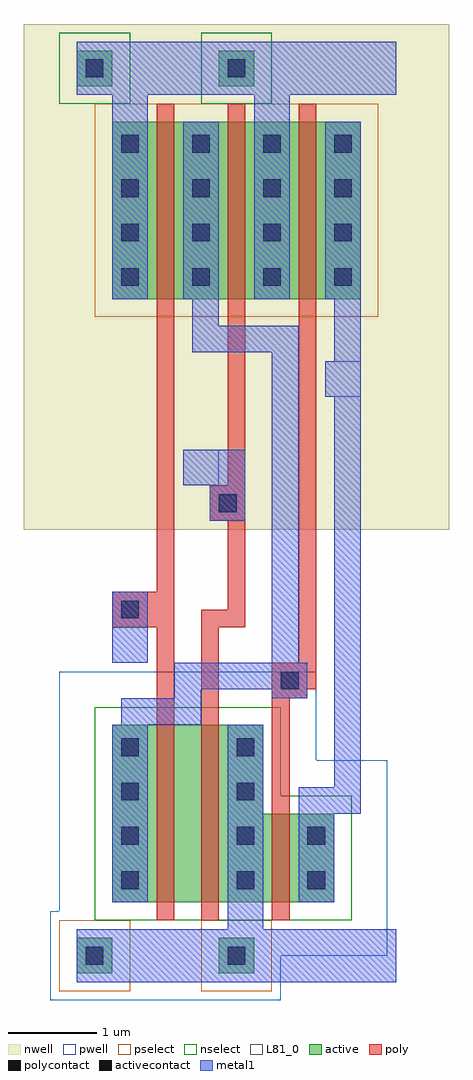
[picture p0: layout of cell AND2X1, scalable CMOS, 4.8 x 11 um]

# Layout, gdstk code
import gdstk
lib = gdstk.Library(unit=1e-6, precision=1e-09)
def R(c, l, rs):  # rectangles x0, y0, x1, y1
    for r in rs: c.add(gdstk.rectangle(r[:2], r[2:], *l))
def A(c, l, x, y, w, h, nx, ny, dx, dy):  # array of equal rectangles
    R(c, l, [(x+i*dx, y+j*dy, x+i*dx+w, y+j*dy+h) for i in range(nx) for j in range(ny)])
pwell = (41, 0)
nwell = (42, 0)
active = (43, 0)
pselect = (44, 0)
nselect = (45, 0)
poly = (46, 0)
polycontact = (47, 0)
activecontact = (48, 0)
metal1 = (49, 0)
L81_0 = (81, 0)

and2x1 = lib.new_cell('AND2X1')
R(and2x1, pwell, [(-0.5,-0.5,2.1,0), (-0.5,0,3.3,0.5), (-0.4,0.5,3.3,2.2), (-0.4,2.2,2.5,3.2)])
R(and2x1, nwell, [(-0.8,4.8,4,10.5)])
R(and2x1, active, [(-0.2,-0.2,0.2,0.2), (1.4,-0.2,1.8,0.2), (0.2,0.6,2.7,1.6), (0.2,1.6,1.9,2.6), (0.2,7.4,3,9.4), (-0.2,9.8,0.2,10.2), (1.4,9.8,1.8,10.2)])
R(and2x1, pselect, [(-0.4,-0.4,0.4,0.4), (1.2,-0.4,2,0.4), (0,7.2,3.2,9.6)])
R(and2x1, nselect, [(0,0.4,2.9,1.8), (0,1.8,2.1,2.8), (-0.4,9.6,0.4,10.4), (1.2,9.6,2,10.4)])
R(and2x1, poly, [(0.7,0.4,0.9,3.7), (1.2,0.4,1.4,3.7), (2,0.4,2.2,2.9), (2,2.9,2.4,3), (2,3,2.5,3.3), (2.3,3.3,2.5,9.6), (0.2,3.7,0.9,4.1), (1.2,3.7,1.7,3.9), (1.5,3.9,1.7,4.9), (0.7,4.1,0.9,9.6), (1.3,4.9,1.7,5.3), (1.5,5.3,1.7,9.6)])
R(and2x1, polycontact, [(2.1,3,2.3,3.2), (0.3,3.8,0.5,4), (1.4,5,1.6,5.2)])
A(and2x1, activecontact, 0.3, 0.75, 0.2, 0.2, 1, 4, 0, 0.5)
A(and2x1, activecontact, 1.6, 0.75, 0.2, 0.2, 1, 4, 0, 0.5)
A(and2x1, activecontact, 0.3, 7.55, 0.2, 0.2, 4, 4, 0.8, 0.5)
R(and2x1, activecontact, [(-0.1,-0.1,0.1,0.1), (1.5,-0.1,1.7,0.1), (2.4,0.75,2.6,0.95), (2.4,1.25,2.6,1.45), (-0.1,9.9,0.1,10.1), (1.5,9.9,1.7,10.1)])
R(and2x1, metal1, [(-0.2,-0.3,3.4,0.3), (1.5,0.3,1.9,2.6), (0.2,0.6,0.6,2.6), (2.3,0.6,2.7,1.6), (2.3,1.6,3,1.9), (2.7,1.9,3,6.3), (0.3,2.6,1.2,2.9), (0.9,2.9,1.2,3), (2,2.9,2.4,3), (0.9,3,2.4,3.3), (0.2,3.3,0.6,4.1), (2,3.3,2.3,6.8), (1.3,4.9,1.7,5.3), (1,5.3,1.7,5.7), (2.6,6.3,3,6.7), (2.7,6.7,3,7.4), (1.1,6.8,2.3,7.1), (1.1,7.1,1.4,7.4), (0.2,7.4,0.6,9.7), (1,7.4,1.4,9.4), (1.8,7.4,2.2,9.7), (2.6,7.4,3,9.4), (-0.2,9.7,3.4,10.3)])
R(and2x1, L81_0, [(0.2,3.3,0.6,3.7), (1,5.3,1.4,5.7), (2.6,6.3,3,6.7)])

lib.write_gds('AND2X1.gds')
